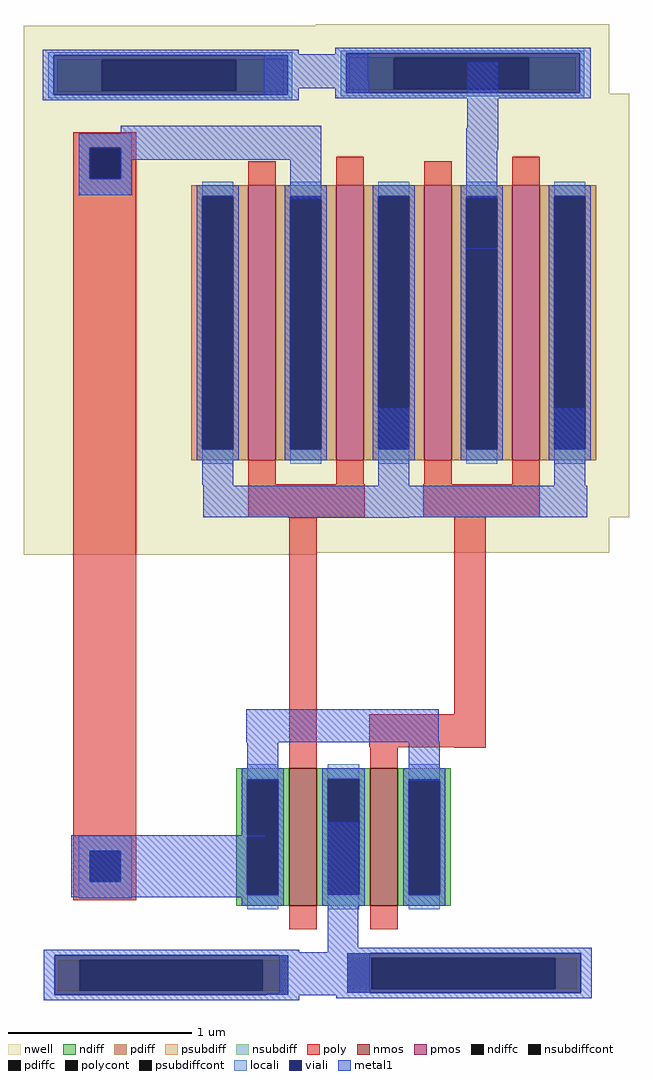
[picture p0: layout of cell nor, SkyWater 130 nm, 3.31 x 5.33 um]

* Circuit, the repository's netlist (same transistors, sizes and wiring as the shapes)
* NGSPICE file created from NOR.ext - technology: sky130A

.subckt sky130_fd_pr__pfet_01v8_527QMA a_63_n150# a_n33_n150# a_n63_n181# w_n161_n250#
+ a_33_n176# a_n125_n150#
X0 a_63_n150# a_33_n176# a_n33_n150# w_n161_n250# sky130_fd_pr__pfet_01v8 ad=0.465 pd=3.62 as=0.248 ps=1.83 w=1.5 l=0.15
X1 a_n33_n150# a_n63_n181# a_n125_n150# w_n161_n250# sky130_fd_pr__pfet_01v8 ad=0.248 pd=1.83 as=0.465 ps=3.62 w=1.5 l=0.15
.ends

.subckt sky130_fd_pr__nfet_01v8_NDWVGB a_15_n75# a_n15_n101# a_n73_n75# VSUBS
X0 a_15_n75# a_n15_n101# a_n73_n75# VSUBS sky130_fd_pr__nfet_01v8 ad=0.218 pd=2.08 as=0.218 ps=2.08 w=0.75 l=0.15
.ends

NOR
Xsky130_fd_pr__pfet_01v8_527QMA_0 m1_195_560# a_54_107# a_245_525# m1_484_818# a_245_525#
+ m1_195_560# sky130_fd_pr__pfet_01v8_527QMA
Xsky130_fd_pr__pfet_01v8_527QMA_1 m1_195_560# m1_484_818# A m1_484_818# A m1_195_560#
+ sky130_fd_pr__pfet_01v8_527QMA
Xsky130_fd_pr__nfet_01v8_NDWVGB_0 a_54_107# A GND GND sky130_fd_pr__nfet_01v8_NDWVGB
Xsky130_fd_pr__nfet_01v8_NDWVGB_1 GND a_245_525# a_54_107# GND sky130_fd_pr__nfet_01v8_NDWVGB

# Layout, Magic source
magic
tech sky130A
magscale 1 2
<< poly >>
rect 54 107 123 945
rect 245 525 372 561
rect 436 525 563 561
rect 290 276 320 525
rect 470 310 504 525
rect 377 274 504 310
rect 470 273 504 274
<< metal1 >>
rect 262 1030 292 1032
rect 262 1001 376 1030
rect 262 993 377 1001
rect 262 985 292 993
rect 263 980 292 985
rect 346 982 377 993
rect 106 915 325 952
rect 484 949 518 1021
rect 291 872 325 915
rect 483 925 518 949
rect 483 873 517 925
rect 484 818 518 819
rect 387 599 420 644
rect 579 599 612 644
rect 195 560 229 599
rect 196 559 229 560
rect 387 559 421 599
rect 579 559 613 599
rect 196 525 615 559
rect 289 524 421 525
rect 243 280 453 315
rect 243 279 454 280
rect 244 238 278 279
rect 420 237 454 279
rect 52 176 263 178
rect 52 110 244 176
rect 332 50 365 192
rect 279 6 378 50
rect 266 3 378 6
use grid  grid_0
transform 1 0 61 0 1 8
box -61 -10 259 1053
use grid  grid_1
transform 1 0 380 0 1 10
box -61 -10 259 1053
use sky130_fd_pr__nfet_01v8_NDWVGB  sky130_fd_pr__nfet_01v8_NDWVGB_0
transform 1 0 393 0 1 176
box -73 -101 73 101
use sky130_fd_pr__nfet_01v8_NDWVGB  sky130_fd_pr__nfet_01v8_NDWVGB_1
transform 1 0 305 0 1 176
box -73 -101 73 101
use sky130_fd_pr__pfet_01v8_527QMA  sky130_fd_pr__pfet_01v8_527QMA_0
transform 1 0 308 0 1 737
box -161 -250 161 250
use sky130_fd_pr__pfet_01v8_527QMA  sky130_fd_pr__pfet_01v8_527QMA_1
transform 1 0 500 0 1 737
box -161 -250 161 250
use via_m1_p  via_m1_p_0
transform 1 0 54 0 1 109
box 6 0 64 68
use via_m1_p  via_m1_p_1
transform 1 0 54 0 1 876
box 6 0 64 68
<< end >>

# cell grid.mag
magic
tech sky130A
magscale 1 2
<< nwell >>
rect -61 476 259 1053
<< psubdiff >>
rect -24 0 0 34
rect 200 0 224 34
<< nsubdiff >>
rect -25 1016 223 1017
rect -25 982 24 1016
rect 171 982 223 1016
rect -25 981 223 982
<< psubdiffcont >>
rect 0 0 200 34
<< nsubdiffcont >>
rect 24 982 171 1016
<< locali >>
rect -34 1021 232 1024
rect -34 978 -28 1021
rect 227 978 232 1021
rect -34 974 232 978
<< viali >>
rect -28 1016 227 1021
rect -28 982 24 1016
rect 24 982 171 1016
rect 171 982 227 1016
rect -28 978 227 982
rect -27 34 228 39
rect -27 0 0 34
rect 0 0 200 34
rect 200 0 228 34
rect -27 -4 228 0
<< metal1 >>
rect -40 1021 239 1027
rect -40 978 -28 1021
rect 227 978 239 1021
rect -40 972 239 978
rect -39 39 240 45
rect -39 -4 -27 39
rect 228 -4 240 39
rect -39 -10 240 -4
<< end >>

# cell sky130_fd_pr__nfet_01v8_NDWVGB: kit device sky130_fd_pr__nfet_01v8, w 0.75 l 0.150 m 1 nf 1 diffcov 100 polycov 100 guard 0 glc 0 grc 0 gtc 0 gbc 0 tbcov 100 rlcov 100 topc 0 botc 0 poverlap 0 doverlap 1 lmin 0.15 wmin 0.42 compatible {sky130_fd_pr__nfet_01v8 sky130_fd_pr__nfet_01v8_lvt sky130_fd_bs_flash__special_sonosfet_star sky130_fd_pr__nfet_g5v0d10v5 sky130_fd_pr__nfet_05v0_nvt sky130_fd_pr__nfet_03v3_nvt} full_metal 0 viasrc 100 viadrn 100 viagate 100 viagb 0 viagr 0 viagl 0 viagt 0

# cell sky130_fd_pr__pfet_01v8_527QMA: kit device sky130_fd_pr__pfet_01v8, w 1.5 l 0.15 m 1 nf 2 diffcov 100 polycov 100 guard 0 glc 0 grc 0 gtc 0 gbc 0 tbcov 100 rlcov 100 topc 0 botc 0 poverlap 0 doverlap 1 lmin 0.15 wmin 0.42 compatible {sky130_fd_pr__pfet_01v8 sky130_fd_pr__pfet_01v8_lvt sky130_fd_pr__pfet_01v8_hvt sky130_fd_pr__pfet_g5v0d10v5} full_metal 0 viasrc 100 viadrn 100 viagate 100 viagb 0 viagr 0 viagl 0 viagt 0

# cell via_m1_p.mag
magic
tech sky130A
<< poly >>
rect 3 26 32 34
rect 3 9 9 26
rect 26 9 32 26
rect 3 0 32 9
<< polycont >>
rect 9 9 26 26
<< locali >>
rect 3 26 32 34
rect 3 9 9 26
rect 26 9 32 26
rect 3 0 32 9
<< viali >>
rect 9 9 26 26
<< metal1 >>
rect 3 26 32 34
rect 3 9 9 26
rect 26 9 32 26
rect 3 0 32 9
<< end >>
